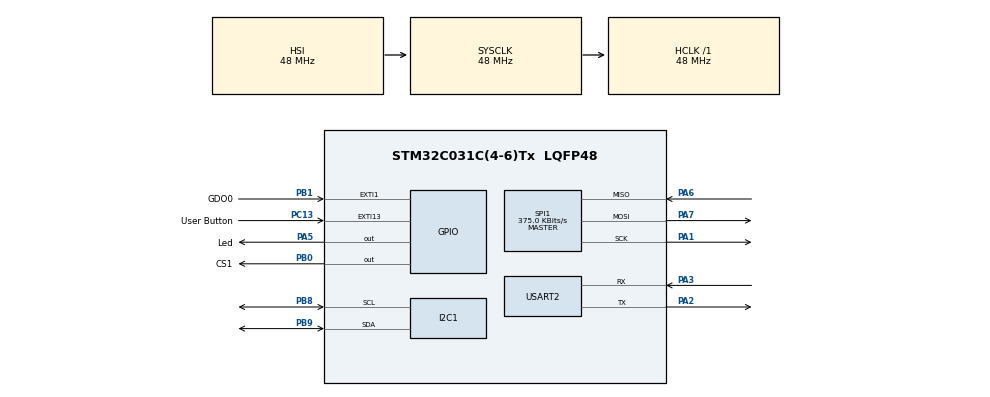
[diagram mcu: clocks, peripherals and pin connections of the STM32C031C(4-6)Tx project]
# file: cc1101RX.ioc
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I2C1.Timing=0x20303E5D
Mcu.Family=STM32C0
Mcu.Name=STM32C031C(4-6)Tx
Mcu.Package=LQFP48
NVIC.EXTI0_1_IRQn=true\:0\:0\:false\:false\:true\:true\:true\:true
PA1.Mode=Full_Duplex_Master
PA1.Signal=SPI1_SCK
PA13.Mode=Serial_Wire
PA13.Signal=DEBUG_SWDIO
PA14-BOOT0.Mode=Serial_Wire
PA14-BOOT0.Signal=DEBUG_SWCLK
PA2.Mode=Asynchronous
PA2.Signal=USART2_TX
PA3.Mode=Asynchronous
PA3.Signal=USART2_RX
PA5.GPIO_Label=Led
PA5.GPIO_Speed=GPIO_SPEED_FREQ_VERY_HIGH
PA5.PinState=GPIO_PIN_SET
PA5.Signal=GPIO_Output
PA6.Mode=Full_Duplex_Master
PA6.Signal=SPI1_MISO
PA7.Mode=Full_Duplex_Master
PA7.Signal=SPI1_MOSI
PB0.GPIO_Label=CS1
PB0.PinState=GPIO_PIN_SET
PB0.Signal=GPIO_Output
PB1.GPIO_Label=GDO0
PB1.GPIO_ModeDefaultEXTI=GPIO_MODE_IT_FALLING
PB1.Signal=GPXTI1
PB8.Mode=I2C
PB8.Signal=I2C1_SCL
PB9.Mode=I2C
PB9.Signal=I2C1_SDA
PC13.GPIO_Label=User Button
PC13.Signal=GPXTI13
PC14-OSCX_IN\ (PC14).Mode=LSE-External-Oscillator
PC14-OSCX_IN\ (PC14).Signal=RCC_OSCX_IN
PC15-OSCX_OUT\ (PC15).Mode=LSE-External-Oscillator
PC15-OSCX_OUT\ (PC15).Signal=RCC_OSCX_OUT
PF0-OSC_IN\ (PF0).Mode=HSE-External-Oscillator
PF0-OSC_IN\ (PF0).Signal=RCC_OSC_IN
PF1-OSC_OUT\ (PF1).Mode=HSE-External-Oscillator
PF1-OSC_OUT\ (PF1).Signal=RCC_OSC_OUT
ProjectManager.HeapSize=0x200
ProjectManager.StackSize=0x400
ProjectManager.TargetToolchain=STM32CubeIDE
RCC.ADCFreq_Value=48000000
RCC.AHBFreq_Value=48000000
RCC.CortexFreq_Value=48000000
RCC.EXTERNAL_CLOCK_VALUE=12288000
RCC.HCLKFreq_Value=48000000
RCC.HSE_VALUE=48000000
RCC.HSISYSCLKDivider=RCC_HSI_DIV1
RCC.HSI_VALUE=48000000
RCC.SYSCLKFreq_VALUE=48000000
SPI1.BaudRatePrescaler=SPI_BAUDRATEPRESCALER_128
SPI1.CalculateBaudRate=375.0 KBits/s
SPI1.Direction=SPI_DIRECTION_2LINES
SPI1.Mode=SPI_MODE_MASTER
SPI1.VirtualType=VM_MASTER
USART2.VirtualMode-Asynchronous=VM_ASYNC
board=NUCLEO-C031C6

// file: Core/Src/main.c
/* USER CODE BEGIN Header */
/**
  ******************************************************************************
  * @file           : main.c
  * @brief          : Main program body
  ******************************************************************************
  * @attention
  *
  * Copyright (c) 2025 STMicroelectronics.
  * All rights reserved.
  *
  * This software is licensed under terms that can be found in the LICENSE file
  * in the root directory of this software component.
  * If no LICENSE file comes with this software, it is provided AS-IS.
  *
  ******************************************************************************
  */
/* USER CODE END Header */
#include "main.h"

/* USER CODE BEGIN Includes */
#include "cc1101.h"
/* USER CODE END Includes */

/* USER CODE BEGIN PTD */
#define state 	0
/* USER CODE END PTD */

I2C_HandleTypeDef hi2c1;

SPI_HandleTypeDef hspi1;

UART_HandleTypeDef huart2;

/* USER CODE BEGIN PV */
volatile uint8_t GDO0_FLAG;
/* USER CODE END PV */

void SystemClock_Config(void);
static void MX_GPIO_Init(void);
static void MX_I2C1_Init(void);
static void MX_USART2_UART_Init(void);
static void MX_SPI1_Init(void);

/* USER CODE BEGIN 0 */

void UserLEDOff()
{
	HAL_GPIO_WritePin(Led_GPIO_Port, Led_Pin, GPIO_PIN_RESET);
}

void UserLEDOn()
{
	HAL_GPIO_WritePin(Led_GPIO_Port, Led_Pin, GPIO_PIN_SET);
}

/* USER CODE END 0 */

int main(void)
{

  /* MCU Configuration--------------------------------------------------------*/

  /* Reset of all peripherals, Initializes the Flash interface and the Systick. */
  HAL_Init();

  /* Configure the system clock */
  SystemClock_Config();

  /* Initialize all configured peripherals */
  MX_GPIO_Init();
  MX_I2C1_Init();
  MX_USART2_UART_Init();
  MX_SPI1_Init();
  /* USER CODE BEGIN 2 */
  BYTE status;
  Power_up_reset();
  TI_init(&hspi1, CS1_GPIO_Port, CS1_Pin);

  MX_USART2_UART_Init();
  init_serial(&huart2);

  char buffer[64];
  char mesaj[7];
  char kontrol[7] = {'R', 'F', ' ', 'T', 'e', 's', 't' };
  uint8_t value = 0;
  BYTE length;

  TI_write_reg(CCxxx0_IOCFG0, 0x06);
  //interrupt setting on GDO0 for data receiving with FIFO
  // GDO0 pininde FIFO ile kullanmak için interrupt ayarı

  /* EXTI interrupt init*/
  //__HAL_GPIO_EXTI_CLEAR_IT(GPIO_PIN_0);
  //HAL_NVIC_EnableIRQ(EXTI0_IRQn);

  while(1)
  {
	  BYTE status;
	  BYTE LQI;

	  //__HAL_GPIO_EXTI_CLEAR_IT(GPIO_PIN_0);

	  GDO0_FLAG = 0;

	  TI_strobe(CCxxx0_SFRX);// Flush the buffer //Bufferi temizle
	  TI_strobe(CCxxx0_SRX); // Set RX Mode //RX moda ayarlar

	  while(GDO0_FLAG == 0);
	  //when the data came, it passes this fucntion
	  //veri geldiğinde bu adımı geçer

	  status = TI_read_status(CCxxx0_RXBYTES);
	  //it is for checking
	  // gelen datanın olup olmadığını denetler

	  if (!(status & 0x7f)) continue;
	  // if it get the data, the code can contuniue
	  // data gelirse, kod devam eder

	  LQI = TI_read_status(CCxxx0_LQI);
	  // LQI is quaility of the receiving data
	  // LQI gelen veri kalitesi

	  if (LQI & 0x80 /*CRC_OK*/)
	  {
		  status = TI_receive_packet(buffer, &length);//read function //okuma fonksiyonu

		  for(uint8_t i = 0; i <7; i++)//to check for receiving data // gelen datayı kontrol etmek için
		  {
			  mesaj[i] = buffer[i];
			  if(strcmp(mesaj[i], kontrol[i])!=0)
			  {
				  value = 1;
				  break;
			  }
		  }

		  //to send over uart on serial port with 9600baudrate
		  // Gelen datayı uart üzerinden 9600 baudrate ile seri porta gönderir
		  //HAL_UART_Transmit(&huart2, (uint8_t*)mesaj, sizeof(mesaj), HAL_MAX_DELAY);
		  //HAL_UART_Transmit(&huart2, "\n\r", 2, HAL_MAX_DELAY);

		  if (value == 0)
			  // if receiving data is equal to checking data, the led is blink
			  // eğer gelen data kontrol datasına eşitse, led yanıp söner
		  {
			  UserLEDOn();

			  HAL_Delay(50);

			  UserLEDOff();
		  }
	  }
	  else
	  {
		  status = TI_read_status(CCxxx0_PKTSTATUS); // if it isnt, check pktstatus // değilse, paket durumunu kontrol eder

		  GDO0_FLAG = 0;
	  }
  }
  /* USER CODE END 2 */

  /* Infinite loop */
  while (1)
  {

  }
}

void SystemClock_Config(void)
{
  RCC_OscInitTypeDef RCC_OscInitStruct = {0};
  RCC_ClkInitTypeDef RCC_ClkInitStruct = {0};

  /** Initializes the RCC Oscillators according to the specified parameters
  * in the RCC_OscInitTypeDef structure.
  */
  RCC_OscInitStruct.OscillatorType = RCC_OSCILLATORTYPE_HSI;
  RCC_OscInitStruct.HSIState = RCC_HSI_ON;
  RCC_OscInitStruct.HSIDiv = RCC_HSI_DIV1;
  RCC_OscInitStruct.HSICalibrationValue = RCC_HSICALIBRATION_DEFAULT;
  if (HAL_RCC_OscConfig(&RCC_OscInitStruct) != HAL_OK)
  {
    Error_Handler();
  }

  /** Initializes the CPU, AHB and APB buses clocks
  */
  RCC_ClkInitStruct.ClockType = RCC_CLOCKTYPE_HCLK|RCC_CLOCKTYPE_SYSCLK
                              |RCC_CLOCKTYPE_PCLK1;
  RCC_ClkInitStruct.SYSCLKSource = RCC_SYSCLKSOURCE_HSI;
  RCC_ClkInitStruct.SYSCLKDivider = RCC_SYSCLK_DIV1;
  RCC_ClkInitStruct.AHBCLKDivider = RCC_HCLK_DIV1;
  RCC_ClkInitStruct.APB1CLKDivider = RCC_APB1_DIV1;

  if (HAL_RCC_ClockConfig(&RCC_ClkInitStruct, FLASH_LATENCY_1) != HAL_OK)
  {
    Error_Handler();
  }
}

static void MX_I2C1_Init(void)
{

  hi2c1.Instance = I2C1;
  hi2c1.Init.Timing = 0x20303E5D;
  hi2c1.Init.OwnAddress1 = 0;
  hi2c1.Init.AddressingMode = I2C_ADDRESSINGMODE_7BIT;
  hi2c1.Init.DualAddressMode = I2C_DUALADDRESS_DISABLE;
  hi2c1.Init.OwnAddress2 = 0;
  hi2c1.Init.OwnAddress2Masks = I2C_OA2_NOMASK;
  hi2c1.Init.GeneralCallMode = I2C_GENERALCALL_DISABLE;
  hi2c1.Init.NoStretchMode = I2C_NOSTRETCH_DISABLE;
  if (HAL_I2C_Init(&hi2c1) != HAL_OK)
  {
    Error_Handler();
  }

  /** Configure Analogue filter
  */
  if (HAL_I2CEx_ConfigAnalogFilter(&hi2c1, I2C_ANALOGFILTER_ENABLE) != HAL_OK)
  {
    Error_Handler();
  }

  /** Configure Digital filter
  */
  if (HAL_I2CEx_ConfigDigitalFilter(&hi2c1, 0) != HAL_OK)
  {
    Error_Handler();
  }

}

static void MX_SPI1_Init(void)
{

  /* SPI1 parameter configuration*/
  hspi1.Instance = SPI1;
  hspi1.Init.Mode = SPI_MODE_MASTER;
  hspi1.Init.Direction = SPI_DIRECTION_2LINES;
  hspi1.Init.DataSize = SPI_DATASIZE_8BIT;
  hspi1.Init.CLKPolarity = SPI_POLARITY_LOW;
  hspi1.Init.CLKPhase = SPI_PHASE_1EDGE;
  hspi1.Init.NSS = SPI_NSS_SOFT;
  hspi1.Init.BaudRatePrescaler = SPI_BAUDRATEPRESCALER_128;
  hspi1.Init.FirstBit = SPI_FIRSTBIT_MSB;
  hspi1.Init.TIMode = SPI_TIMODE_DISABLE;
  hspi1.Init.CRCCalculation = SPI_CRCCALCULATION_DISABLE;
  hspi1.Init.CRCPolynomial = 7;
  hspi1.Init.CRCLength = SPI_CRC_LENGTH_DATASIZE;
  hspi1.Init.NSSPMode = SPI_NSS_PULSE_ENABLE;
  if (HAL_SPI_Init(&hspi1) != HAL_OK)
  {
    Error_Handler();
  }

}

static void MX_USART2_UART_Init(void)
{

  huart2.Instance = USART2;
  huart2.Init.BaudRate = 115200;
  huart2.Init.WordLength = UART_WORDLENGTH_8B;
  huart2.Init.StopBits = UART_STOPBITS_1;
  huart2.Init.Parity = UART_PARITY_NONE;
  huart2.Init.Mode = UART_MODE_TX_RX;
  huart2.Init.HwFlowCtl = UART_HWCONTROL_NONE;
  huart2.Init.OverSampling = UART_OVERSAMPLING_16;
  huart2.Init.OneBitSampling = UART_ONE_BIT_SAMPLE_DISABLE;
  huart2.Init.ClockPrescaler = UART_PRESCALER_DIV1;
  huart2.AdvancedInit.AdvFeatureInit = UART_ADVFEATURE_NO_INIT;
  if (HAL_UART_Init(&huart2) != HAL_OK)
  {
    Error_Handler();
  }

}

static void MX_GPIO_Init(void)
{
  GPIO_InitTypeDef GPIO_InitStruct = {0};

  /* GPIO Ports Clock Enable */
  __HAL_RCC_GPIOC_CLK_ENABLE();
  __HAL_RCC_GPIOF_CLK_ENABLE();
  __HAL_RCC_GPIOA_CLK_ENABLE();
  __HAL_RCC_GPIOB_CLK_ENABLE();

  /*Configure GPIO pin Output Level */
  HAL_GPIO_WritePin(Led_GPIO_Port, Led_Pin, GPIO_PIN_SET);

  /*Configure GPIO pin Output Level */
  HAL_GPIO_WritePin(CS1_GPIO_Port, CS1_Pin, GPIO_PIN_SET);

  /*Configure GPIO pin : User_Button_Pin */
  GPIO_InitStruct.Pin = User_Button_Pin;
  GPIO_InitStruct.Mode = GPIO_MODE_IT_RISING;
  GPIO_InitStruct.Pull = GPIO_NOPULL;
  HAL_GPIO_Init(User_Button_GPIO_Port, &GPIO_InitStruct);

  /*Configure GPIO pin : Led_Pin */
  GPIO_InitStruct.Pin = Led_Pin;
  GPIO_InitStruct.Mode = GPIO_MODE_OUTPUT_PP;
  GPIO_InitStruct.Pull = GPIO_NOPULL;
  GPIO_InitStruct.Speed = GPIO_SPEED_FREQ_VERY_HIGH;
  HAL_GPIO_Init(Led_GPIO_Port, &GPIO_InitStruct);

  /*Configure GPIO pin : CS1_Pin */
  GPIO_InitStruct.Pin = CS1_Pin;
  GPIO_InitStruct.Mode = GPIO_MODE_OUTPUT_PP;
  GPIO_InitStruct.Pull = GPIO_NOPULL;
  GPIO_InitStruct.Speed = GPIO_SPEED_FREQ_LOW;
  HAL_GPIO_Init(CS1_GPIO_Port, &GPIO_InitStruct);

  /*Configure GPIO pin : GDO0_Pin */
  GPIO_InitStruct.Pin = GDO0_Pin;
  GPIO_InitStruct.Mode = GPIO_MODE_IT_FALLING;
  GPIO_InitStruct.Pull = GPIO_NOPULL;
  HAL_GPIO_Init(GDO0_GPIO_Port, &GPIO_InitStruct);

  /* EXTI interrupt init*/
  HAL_NVIC_SetPriority(EXTI0_1_IRQn, 0, 0);
  HAL_NVIC_EnableIRQ(EXTI0_1_IRQn);

}

/* USER CODE BEGIN 4 */
//for receiver/modem
void HAL_GPIO_EXTI_Callback(uint16_t GPIO_Pin)
{
	//if it get the receiving data, the interrupt works
	// eğer gelen data gelirse, kesme çalışır.
	if(GPIO_Pin == GDO0_Pin){
			GDO0_FLAG = 1;
		}
}
/* USER CODE END 4 */

void Error_Handler(void)
{
  __disable_irq();
  while (1)
  {
  }
}
